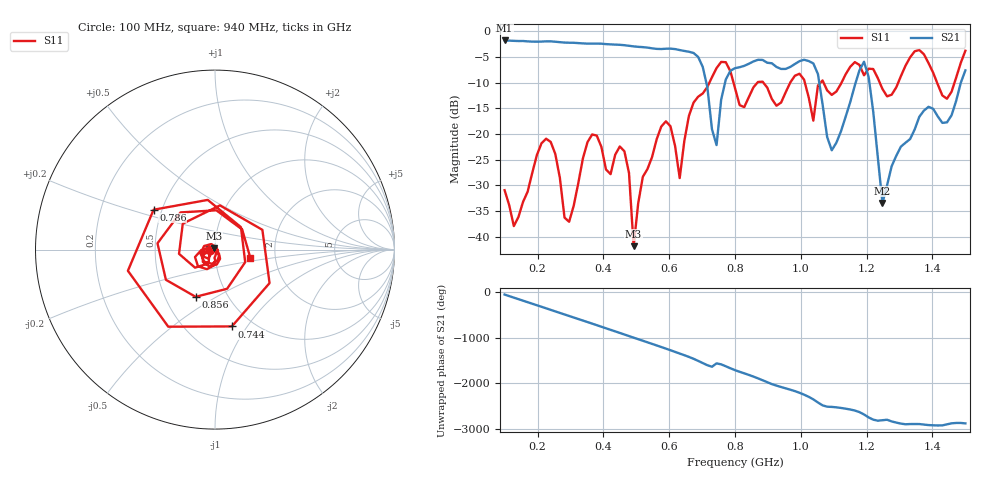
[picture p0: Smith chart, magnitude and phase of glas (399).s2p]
! NanoVNA-App
! Date: 2025-09-25 15:58:35
! Start: 100MHz Stop: 1,5GHz Points: 101
! S-Parameter data: F S11 S21 S12 S22
# Hz S RI R 50
!  Frequency  S11_Real  S11_Imag  S21_Real  S21_Imag  S12_Real  S12_Imag  S22_Real  S22_Imag
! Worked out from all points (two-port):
!   101 points, 100 MHz to 1.5 GHz, reference 50 ohm
!   highest |S21| = -1.80 dB at 100 MHz (marker M1); lowest = -33.4 dB at 1.248 GHz (marker M2)
!   |S21| within 3 dB of the highest: start of sweep to 684.3 MHz
!   lowest |S11| = -41.8 dB at 492 MHz (marker M3), VSWR 1.02, Z = 49.5 + j0.638 ohm
!   |S11| at or under -10 dB: start of sweep to 722.4 MHz; 795.5 MHz to 868.2 MHz (72.78 MHz wide, 8.75 % of centre); 886 MHz to 967.8 MHz (81.77 MHz wide, 8.82 % of centre) (the widest 3 of 7)
!   S12 and S22 are empty: the file has one direction only
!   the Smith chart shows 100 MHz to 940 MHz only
!   S11 on the Smith chart (normalised r, x): 100 MHz: 0.95, -0.01; 744 MHz: 0.80, -0.85; 786 MHz: 0.45, +0.24; 856 MHz: 0.71, -0.41; 940 MHz: 1.48, -0.14
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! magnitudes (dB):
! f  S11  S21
! 100 MHz  -30.9  -1.8
! 128 MHz  -37.9  -1.9
! 226 MHz  -20.9  -2.0
! 296 MHz  -37.1  -2.2
! 338 MHz  -24.7  -2.4
! 464 MHz  -23.4  -2.7
! 492 MHz  -41.8  -3.0
! 576 MHz  -18.6  -3.5
! 632 MHz  -28.6  -3.7
! 702 MHz  -12.1  -6.9
! 744 MHz  -7.2  -22.2
! 786 MHz  -7.8  -7.7
! 800 MHz  -11.1  -7.2
! 856 MHz  -10.9  -5.9
! 940 MHz  -13.9  -7.3
! 996 MHz  -8.3  -5.8
! 1.038 GHz  -17.4  -6.3
! 1.094 GHz  -12.4  -23.2
! 1.192 GHz  -8.6  -5.9
! 1.248 GHz  -11.2  -33.4
! 1.276 GHz  -12.4  -26.3
! 1.5 GHz  -3.8  -7.6
